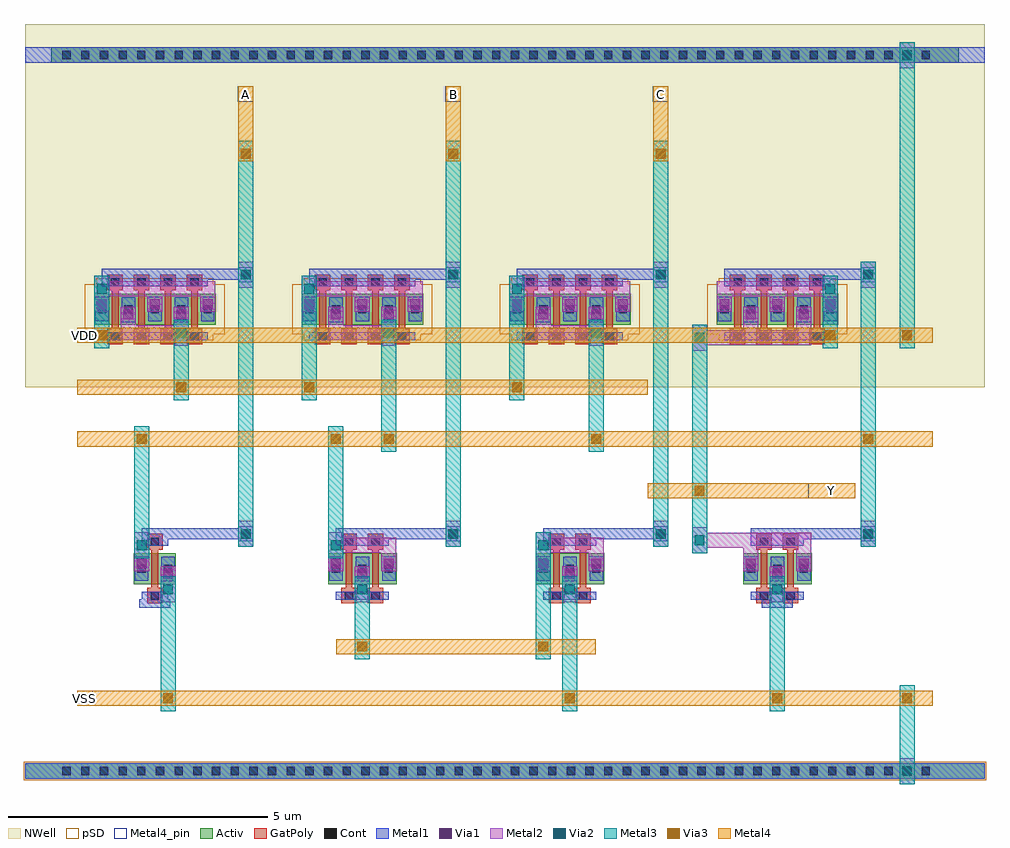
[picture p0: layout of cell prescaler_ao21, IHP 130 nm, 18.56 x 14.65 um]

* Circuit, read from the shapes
.subckt prescaler_ao21 A B C VDD VSS Y
XM1 VSS A dev_n_w0p6_l0p13_ng1_noguard_m1_4/D VSS sg13_lv_nmos w=0.6u l=0.13u
XM2 dev_n_w0p6_l0p13_ng2_noguard_m1_6/D0 B dev_n_w0p6_l0p13_ng1_noguard_m1_4/D VSS sg13_lv_nmos w=0.6u l=0.13u m=2
XM3 VSS C dev_n_w0p6_l0p13_ng2_noguard_m1_6/D0 VSS sg13_lv_nmos w=0.6u l=0.13u m=2
XM4 VSS dev_n_w0p6_l0p13_ng1_noguard_m1_4/D Y VSS sg13_lv_nmos w=0.6u l=0.13u m=2
XM5 dev_p_w0p6_l0p13_ng4_noguard_m1_1/D0 A VDD VDD sg13_lv_pmos w=0.6u l=0.13u m=4
XM6 dev_n_w0p6_l0p13_ng1_noguard_m1_4/D B dev_p_w0p6_l0p13_ng4_noguard_m1_1/D0 VDD sg13_lv_pmos w=0.6u l=0.13u m=4
XM7 dev_n_w0p6_l0p13_ng1_noguard_m1_4/D C dev_p_w0p6_l0p13_ng4_noguard_m1_1/D0 VDD sg13_lv_pmos w=0.6u l=0.13u m=4
XM8 Y dev_n_w0p6_l0p13_ng1_noguard_m1_4/D VDD VDD sg13_lv_pmos w=0.6u l=0.13u m=4
.ends

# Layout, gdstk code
import gdstk
lib = gdstk.Library(unit=1e-6, precision=1e-09)
def R(c, l, rs):  # rectangles x0, y0, x1, y1
    for r in rs: c.add(gdstk.rectangle(r[:2], r[2:], *l))
def A(c, l, x, y, w, h, nx, ny, dx, dy):  # array of equal rectangles
    R(c, l, [(x+i*dx, y+j*dy, x+i*dx+w, y+j*dy+h) for i in range(nx) for j in range(ny)])
Activ = (1, 0)
GatPoly = (5, 0)
Cont = (6, 0)
Metal1 = (8, 0)
Metal2 = (10, 0)
pSD = (14, 0)
Via1 = (19, 0)
Via2 = (29, 0)
Metal3 = (30, 0)
NWell = (31, 0)
Via3 = (49, 0)
Metal4 = (50, 0)
Metal4_pin = (50, 2)

dev_p_w0p6_l0p13_ng4_nog = lib.new_cell('dev_p_w0p6_l0p13_ng4_noguard_m1')
R(dev_p_w0p6_l0p13_ng4_nog, Activ, [(-1.17,-0.3,1.17,0.3)])
A(dev_p_w0p6_l0p13_ng4_nog, GatPoly, -0.915, -0.67, 0.3, 0.3, 4, 2, 0.51, 1.04)
A(dev_p_w0p6_l0p13_ng4_nog, GatPoly, -0.83, -0.37, 0.13, 0.74, 4, 1, 0.51, 0)
A(dev_p_w0p6_l0p13_ng4_nog, Cont, -0.845, -0.6, 0.16, 0.16, 4, 2, 0.51, 1.04)
A(dev_p_w0p6_l0p13_ng4_nog, Cont, -1.1, -0.08, 0.16, 0.16, 5, 1, 0.51, 0)
A(dev_p_w0p6_l0p13_ng4_nog, Metal1, -1.15, -0.23, 0.26, 0.46, 5, 1, 0.51, 0)
R(dev_p_w0p6_l0p13_ng4_nog, Metal1, [(-1.02,-0.6,1.02,-0.44), (-1.02,0.44,1.02,0.6)])
R(dev_p_w0p6_l0p13_ng4_nog, pSD, [(-1.13,-0.6,1.13,-0.48), (-1.35,-0.48,1.35,0.48), (-1.13,0.48,1.13,0.6)])
R(dev_p_w0p6_l0p13_ng4_nog, NWell, [(-1.48,-0.61,1.48,0.61)])
dev_p_w0p6_l0p13_ng4_nog.add(gdstk.Label('D0', (-1.02,0), layer=8, texttype=25))
dev_p_w0p6_l0p13_ng4_nog.add(gdstk.Label('G', (0.765,0.52), layer=8, texttype=25))
dev_p_w0p6_l0p13_ng4_nog.add(gdstk.Label('G', (0.255,0.52), layer=8, texttype=25))
dev_p_w0p6_l0p13_ng4_nog.add(gdstk.Label('G', (-0.255,0.52), layer=8, texttype=25))
dev_p_w0p6_l0p13_ng4_nog.add(gdstk.Label('G', (-0.765,0.52), layer=8, texttype=25))
dev_p_w0p6_l0p13_ng4_nog.add(gdstk.Label('S1', (-0.51,0), layer=8, texttype=25))
dev_p_w0p6_l0p13_ng4_nog.add(gdstk.Label('D2', (0,0), layer=8, texttype=25))
dev_p_w0p6_l0p13_ng4_nog.add(gdstk.Label('S3', (0.51,0), layer=8, texttype=25))

dev_n_w0p6_l0p13_ng1_nog = lib.new_cell('dev_n_w0p6_l0p13_ng1_noguard_m1')
R(dev_n_w0p6_l0p13_ng1_nog, Activ, [(-0.405,-0.3,0.405,0.3)])
R(dev_n_w0p6_l0p13_ng1_nog, GatPoly, [(-0.15,-0.67,0.15,-0.37), (-0.065,-0.37,0.065,0.37), (-0.15,0.37,0.15,0.67)])
R(dev_n_w0p6_l0p13_ng1_nog, Cont, [(-0.08,-0.6,0.08,-0.44), (-0.335,-0.08,-0.175,0.08), (0.175,-0.08,0.335,0.08), (-0.08,0.44,0.08,0.6)])
R(dev_n_w0p6_l0p13_ng1_nog, Metal1, [(-0.255,-0.6,0.255,-0.44), (-0.385,-0.23,-0.125,0.23), (0.125,-0.23,0.385,0.23), (-0.255,0.44,0.255,0.6)])
dev_n_w0p6_l0p13_ng1_nog.add(gdstk.Label('D', (-0.255,0), layer=8, texttype=25))
dev_n_w0p6_l0p13_ng1_nog.add(gdstk.Label('S', (0.255,0), layer=8, texttype=25))
dev_n_w0p6_l0p13_ng1_nog.add(gdstk.Label('G', (0,0.52), layer=8, texttype=25))

dev_n_w0p6_l0p13_ng2_nog = lib.new_cell('dev_n_w0p6_l0p13_ng2_noguard_m1')
R(dev_n_w0p6_l0p13_ng2_nog, Activ, [(-0.66,-0.3,0.66,0.3)])
R(dev_n_w0p6_l0p13_ng2_nog, GatPoly, [(-0.405,-0.67,-0.105,-0.37), (0.105,-0.67,0.405,-0.37), (-0.32,-0.37,-0.19,0.37), (0.19,-0.37,0.32,0.37), (-0.405,0.37,-0.105,0.67), (0.105,0.37,0.405,0.67)])
A(dev_n_w0p6_l0p13_ng2_nog, Cont, -0.59, -0.08, 0.16, 0.16, 3, 1, 0.51, 0)
R(dev_n_w0p6_l0p13_ng2_nog, Cont, [(-0.335,-0.6,-0.175,-0.44), (0.175,-0.6,0.335,-0.44), (-0.335,0.44,-0.175,0.6), (0.175,0.44,0.335,0.6)])
A(dev_n_w0p6_l0p13_ng2_nog, Metal1, -0.64, -0.23, 0.26, 0.46, 3, 1, 0.51, 0)
R(dev_n_w0p6_l0p13_ng2_nog, Metal1, [(-0.51,-0.6,0.51,-0.44), (-0.51,0.44,0.51,0.6)])
dev_n_w0p6_l0p13_ng2_nog.add(gdstk.Label('D0', (-0.51,0), layer=8, texttype=25))
dev_n_w0p6_l0p13_ng2_nog.add(gdstk.Label('G', (0.255,0.52), layer=8, texttype=25))
dev_n_w0p6_l0p13_ng2_nog.add(gdstk.Label('G', (-0.255,0.52), layer=8, texttype=25))
dev_n_w0p6_l0p13_ng2_nog.add(gdstk.Label('S1', (0,0), layer=8, texttype=25))

prescaler_ao21 = lib.new_cell('prescaler_ao21')
R(prescaler_ao21, Activ, [(-2.5,-4.05,16,-3.75), (-2,9.75,15.5,10.05)])
A(prescaler_ao21, Cont, -1.78, -3.98, 0.16, 0.16, 47, 2, 0.36, 13.8)
A(prescaler_ao21, Metal1, 3.855, -0.245, 0.29, 0.29, 3, 1, 4, 0)
A(prescaler_ao21, Metal1, 1.605, 0.525, 0.29, 0.045, 4, 2, 4, 5)
A(prescaler_ao21, Metal1, 3.49, 0.57, 2.405, 0.21, 3, 1, 4, 0)
A(prescaler_ao21, Metal1, 1.605, 0.78, 0.29, 0.035, 4, 2, 4, 5)
A(prescaler_ao21, Metal1, -1.165, 4.955, 0.29, 0.29, 3, 1, 1.02, 0)
A(prescaler_ao21, Metal1, 2.835, 4.955, 0.29, 0.29, 3, 1, 1.02, 0)
A(prescaler_ao21, Metal1, 6.835, 4.955, 0.29, 0.29, 3, 1, 1.02, 0)
A(prescaler_ao21, Metal1, 10.835, 4.955, 0.29, 0.29, 3, 1, 1.02, 0)
A(prescaler_ao21, Metal1, -1.02, 5.57, 2.915, 0.21, 4, 1, 4, 0)
R(prescaler_ao21, Metal1, [(-2.5,-4.05,16,-3.75), (-0.3,-0.75,0.3,-0.59), (11.7,-0.75,12.3,-0.59), (0.11,-0.245,0.4,0.045), (-0.4,-0.045,-0.11,0.245), (3.345,-0.045,3.635,0.245), (4.365,-0.045,4.655,0.245), (7.345,-0.045,7.635,0.245), (8.365,-0.045,8.655,0.245), (11.345,-0.045,11.635,0.245), (12.365,-0.045,12.655,0.245), (-0.255,0.57,1.895,0.78), (-0.655,4.755,-0.365,5.045), (0.365,4.755,0.655,5.045), (3.345,4.755,3.635,5.045), (4.365,4.755,4.655,5.045), (7.345,4.755,7.635,5.045), (8.365,4.755,8.655,5.045), (11.345,4.755,11.635,5.045), (12.365,4.755,12.655,5.045), (-2.5,9.75,16,10.05)])
A(prescaler_ao21, Metal2, 3.855, -0.65, 0.29, 0.695, 3, 1, 4, 0)
A(prescaler_ao21, Metal2, 1.605, 0.42, 0.29, 0.5, 4, 2, 4, 5)
A(prescaler_ao21, Metal2, 0.365, 4.3, 0.29, 0.105, 3, 1, 4, 0)
A(prescaler_ao21, Metal2, -0.655, 4.405, 1.31, 0.29, 3, 1, 4, 0)
A(prescaler_ao21, Metal2, -1.165, 4.955, 0.29, 0.3, 3, 1, 1.02, 0)
A(prescaler_ao21, Metal2, 2.835, 4.955, 0.29, 0.3, 3, 1, 1.02, 0)
A(prescaler_ao21, Metal2, 6.835, 4.955, 0.29, 0.3, 3, 1, 1.02, 0)
A(prescaler_ao21, Metal2, 10.835, 4.955, 0.29, 0.3, 3, 1, 1.02, 0)
A(prescaler_ao21, Metal2, -1.165, 5.255, 2.33, 0.29, 4, 1, 4, 0)
A(prescaler_ao21, Metal2, -1.165, 5.545, 0.29, 0.105, 3, 1, 4, 0)
R(prescaler_ao21, Metal2, [(14.355,-4.15,14.645,-3.65), (0.11,-0.65,0.4,0.045), (-0.4,-0.045,-0.11,0.7), (3.345,-0.045,3.635,0.305), (4.365,-0.045,4.655,0.305), (7.345,-0.045,7.635,0.305), (8.365,-0.045,8.655,0.305), (11.345,-0.045,11.635,0.405), (12.365,-0.045,12.655,0.405), (10.355,0.3,10.645,0.405), (3.345,0.305,4.655,0.595), (7.345,0.305,8.655,0.595), (10.355,0.405,12.655,0.695), (3.345,0.595,3.635,0.7), (7.345,0.595,7.635,0.7), (10.355,0.695,10.645,0.8), (10.355,4.2,10.645,4.305), (10.355,4.305,12.655,4.595), (10.355,4.595,10.645,4.7), (11.345,4.595,11.635,5.045), (12.365,4.595,12.655,5.045), (-0.655,4.695,-0.365,5.045), (0.365,4.695,0.655,5.045), (3.345,4.695,3.635,5.045), (4.365,4.695,4.655,5.045), (7.345,4.695,7.635,5.045), (8.365,4.695,8.655,5.045), (12.875,5.545,13.165,5.65), (14.355,9.65,14.645,10.15)])
R(prescaler_ao21, pSD, [(-2.53,-4.08,16.03,-3.72)])
A(prescaler_ao21, Via1, 3.905, -0.195, 0.19, 0.19, 3, 1, 4, 0)
A(prescaler_ao21, Via1, 1.655, 0.575, 0.19, 0.19, 4, 2, 4, 5)
A(prescaler_ao21, Via1, -1.115, 5.005, 0.19, 0.19, 3, 1, 1.02, 0)
A(prescaler_ao21, Via1, 2.885, 5.005, 0.19, 0.19, 3, 1, 1.02, 0)
A(prescaler_ao21, Via1, 6.885, 5.005, 0.19, 0.19, 3, 1, 1.02, 0)
A(prescaler_ao21, Via1, 10.885, 5.005, 0.19, 0.19, 3, 1, 1.02, 0)
R(prescaler_ao21, Via1, [(14.405,-3.995,14.595,-3.805), (0.16,-0.195,0.35,-0.005), (-0.35,0.005,-0.16,0.195), (3.395,0.005,3.585,0.195), (4.415,0.005,4.605,0.195), (7.395,0.005,7.585,0.195), (8.415,0.005,8.605,0.195), (11.395,0.005,11.585,0.195), (12.415,0.005,12.605,0.195), (-0.605,4.805,-0.415,4.995), (0.415,4.805,0.605,4.995), (3.395,4.805,3.585,4.995), (4.415,4.805,4.605,4.995), (7.395,4.805,7.585,4.995), (8.415,4.805,8.605,4.995), (11.395,4.805,11.585,4.995), (12.415,4.805,12.605,4.995), (14.405,9.805,14.595,9.995)])
A(prescaler_ao21, Via2, 3.905, -0.495, 0.19, 0.19, 3, 1, 4, 0)
A(prescaler_ao21, Via2, 1.655, 0.575, 0.19, 0.19, 4, 2, 4, 5)
A(prescaler_ao21, Via2, 0.415, 4.455, 0.19, 0.19, 3, 1, 4, 0)
A(prescaler_ao21, Via2, -1.115, 5.305, 0.19, 0.19, 3, 1, 4, 0)
R(prescaler_ao21, Via2, [(14.405,-3.995,14.595,-3.805), (0.16,-0.495,0.35,-0.305), (-0.35,0.355,-0.16,0.545), (3.395,0.355,3.585,0.545), (7.395,0.355,7.585,0.545), (10.405,0.455,10.595,0.645), (10.405,4.355,10.595,4.545), (12.925,5.305,13.115,5.495), (14.405,9.805,14.595,9.995)])
A(prescaler_ao21, Metal3, 1.605, 0.42, 0.29, 7.83, 3, 1, 4, 0)
R(prescaler_ao21, Metal3, [(14.355,-4.15,14.645,-2.25), (0.11,-2.75,0.4,-0.15), (7.855,-2.75,8.145,-0.15), (11.855,-2.75,12.145,-0.15), (3.855,-1.75,4.145,-0.15), (7.345,-1.75,7.635,0.7), (-0.4,0.2,-0.11,2.75), (3.345,0.2,3.635,2.75), (10.355,0.3,10.645,4.7), (13.605,0.42,13.895,5.92), (4.365,2.25,4.655,4.8), (8.365,2.25,8.655,4.8), (0.365,3.25,0.655,4.8), (2.835,3.25,3.125,5.65), (6.835,3.25,7.125,5.65), (-1.165,4.25,-0.875,5.65), (12.875,4.25,13.165,5.65), (14.355,4.25,14.645,10.15)])
R(prescaler_ao21, NWell, [(-2.5,3.5,16,10.5)])
A(prescaler_ao21, Via3, 1.655, 7.905, 0.19, 0.19, 3, 1, 4, 0)
R(prescaler_ao21, Via3, [(0.16,-2.595,0.35,-2.405), (7.905,-2.595,8.095,-2.405), (11.905,-2.595,12.095,-2.405), (14.405,-2.595,14.595,-2.405), (3.905,-1.595,4.095,-1.405), (7.395,-1.595,7.585,-1.405), (10.405,1.405,10.595,1.595), (-0.35,2.405,-0.16,2.595), (3.395,2.405,3.585,2.595), (4.415,2.405,4.605,2.595), (8.415,2.405,8.605,2.595), (13.655,2.405,13.845,2.595), (0.415,3.405,0.605,3.595), (2.885,3.405,3.075,3.595), (6.885,3.405,7.075,3.595), (-1.115,4.405,-0.925,4.595), (12.925,4.405,13.115,4.595), (14.405,4.405,14.595,4.595)])
A(prescaler_ao21, Metal4, 1.605, 7.855, 0.29, 1.445, 3, 1, 4, 0)
R(prescaler_ao21, Metal4, [(-1.5,-2.645,15,-2.355), (3.5,-1.645,8.5,-1.355), (9.5,1.355,13.5,1.645), (-1.5,2.355,15,2.645), (-1.5,3.355,9.5,3.645), (-1.5,4.355,15,4.645)])
A(prescaler_ao21, Metal4_pin, 1.6, 9, 0.3, 0.3, 3, 1, 4, 0)
R(prescaler_ao21, Metal4_pin, [(-1.5,-2.645,-1.2,-2.355), (12.6,1.355,13.5,1.645), (-1.5,4.355,-1.2,4.645)])
prescaler_ao21.add(gdstk.Reference(dev_p_w0p6_l0p13_ng4_nog, (0,5)))
prescaler_ao21.add(gdstk.Reference(dev_p_w0p6_l0p13_ng4_nog, (4,5)))
prescaler_ao21.add(gdstk.Reference(dev_p_w0p6_l0p13_ng4_nog, (8,5)))
prescaler_ao21.add(gdstk.Reference(dev_p_w0p6_l0p13_ng4_nog, (12,5)))
prescaler_ao21.add(gdstk.Reference(dev_n_w0p6_l0p13_ng1_nog, (0,0)))
prescaler_ao21.add(gdstk.Reference(dev_n_w0p6_l0p13_ng2_nog, (4,0)))
prescaler_ao21.add(gdstk.Reference(dev_n_w0p6_l0p13_ng2_nog, (8,0)))
prescaler_ao21.add(gdstk.Reference(dev_n_w0p6_l0p13_ng2_nog, (12,0)))
prescaler_ao21.add(gdstk.Label('A', (1.75,9.15), layer=50, texttype=25))
prescaler_ao21.add(gdstk.Label('B', (5.75,9.15), layer=50, texttype=25))
prescaler_ao21.add(gdstk.Label('C', (9.75,9.15), layer=50, texttype=25))
prescaler_ao21.add(gdstk.Label('Y', (13.05,1.5), layer=50, texttype=25))
prescaler_ao21.add(gdstk.Label('VDD', (-1.35,4.5), layer=50, texttype=25))
prescaler_ao21.add(gdstk.Label('VSS', (-1.35,-2.5), layer=50, texttype=25))

lib.write_gds('prescaler_ao21.gds')
